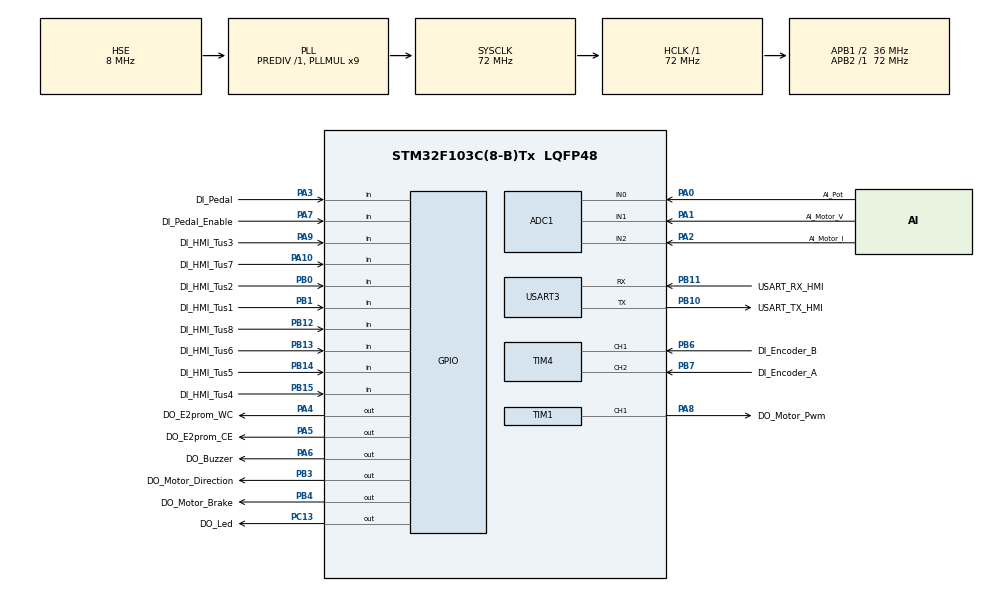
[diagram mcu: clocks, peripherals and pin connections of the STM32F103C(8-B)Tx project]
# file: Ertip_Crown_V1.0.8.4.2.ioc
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ADC1.Channel-6\#ChannelRegularConversion=ADC_CHANNEL_0
ADC1.Channel-7\#ChannelRegularConversion=ADC_CHANNEL_1
ADC1.Channel-8\#ChannelRegularConversion=ADC_CHANNEL_2
ADC1.ContinuousConvMode=ENABLE
ADC1.NbrOfConversion=3
ADC1.NbrOfConversionFlag=1
ADC1.Rank-6\#ChannelRegularConversion=1
ADC1.Rank-7\#ChannelRegularConversion=2
ADC1.Rank-8\#ChannelRegularConversion=3
ADC1.SamplingTime-6\#ChannelRegularConversion=ADC_SAMPLETIME_239CYCLES_5
ADC1.SamplingTime-7\#ChannelRegularConversion=ADC_SAMPLETIME_239CYCLES_5
ADC1.SamplingTime-8\#ChannelRegularConversion=ADC_SAMPLETIME_239CYCLES_5
ADC1.master=1
Dma.ADC1.0.Direction=DMA_PERIPH_TO_MEMORY
Dma.ADC1.0.Instance=DMA1_Channel1
Dma.ADC1.0.MemDataAlignment=DMA_MDATAALIGN_HALFWORD
Dma.ADC1.0.MemInc=DMA_MINC_ENABLE
Dma.ADC1.0.Mode=DMA_CIRCULAR
Dma.ADC1.0.PeriphDataAlignment=DMA_PDATAALIGN_HALFWORD
Dma.ADC1.0.PeriphInc=DMA_PINC_DISABLE
Dma.ADC1.0.Priority=DMA_PRIORITY_LOW
Dma.Request0=ADC1
Mcu.Family=STM32F1
Mcu.Name=STM32F103C(8-B)Tx
Mcu.Package=LQFP48
NVIC.DMA1_Channel1_IRQn=true\:10\:0\:true\:false\:true\:false\:true\:true
NVIC.PriorityGroup=NVIC_PRIORITYGROUP_4
NVIC.TIM2_IRQn=true\:0\:0\:false\:false\:true\:true\:true\:true
NVIC.USART3_IRQn=true\:0\:0\:false\:false\:true\:true\:true\:true
PA0-WKUP.GPIO_Label=AI_Pot
PA0-WKUP.Signal=ADCx_IN0
PA1.GPIO_Label=AI_Motor_V
PA1.Signal=ADCx_IN1
PA10.GPIO_Label=DI_HMI_Tus7
PA10.Signal=GPIO_Input
PA13.GPIO_Label=DIO_Debug_Serial_Wire
PA13.Mode=Serial_Wire
PA13.Signal=SYS_JTMS-SWDIO
PA14.GPIO_Label=CLK_Debug_Serial_Wire
PA14.Mode=Serial_Wire
PA14.Signal=SYS_JTCK-SWCLK
PA2.GPIO_Label=AI_Motor_I
PA2.Signal=ADCx_IN2
PA3.GPIO_Label=DI_Pedal
PA3.GPIO_PuPd=GPIO_PULLUP
PA3.Signal=GPIO_Input
PA4.GPIO_Label=DO_E2prom_WC
PA4.Signal=GPIO_Output
PA5.GPIO_Label=DO_E2prom_CE
PA5.Signal=GPIO_Output
PA6.GPIO_Label=DO_Buzzer
PA6.Signal=GPIO_Output
PA7.GPIO_Label=DI_Pedal_Enable
PA7.GPIO_PuPd=GPIO_PULLUP
PA7.Signal=GPIO_Input
PA8.GPIO_Label=DO_Motor_Pwm
PA8.Signal=S_TIM1_CH1
PA9.GPIO_Label=DI_HMI_Tus3
PA9.Signal=GPIO_Input
PB0.GPIO_Label=DI_HMI_Tus2
PB0.Signal=GPIO_Input
PB1.GPIO_Label=DI_HMI_Tus1
PB1.Signal=GPIO_Input
PB10.GPIO_Label=USART_TX_HMI
PB10.Mode=Asynchronous
PB10.Signal=USART3_TX
PB11.GPIO_Label=USART_RX_HMI
PB11.Mode=Asynchronous
PB11.Signal=USART3_RX
PB12.GPIO_Label=DI_HMI_Tus8
PB12.Signal=GPIO_Input
PB13.GPIO_Label=DI_HMI_Tus6
PB13.Signal=GPIO_Input
PB14.GPIO_Label=DI_HMI_Tus5
PB14.Signal=GPIO_Input
PB15.GPIO_Label=DI_HMI_Tus4
PB15.Signal=GPIO_Input
PB3.GPIO_Label=DO_Motor_Direction
PB3.Signal=GPIO_Output
PB4.GPIO_Label=DO_Motor_Brake
PB4.Signal=GPIO_Output
PB6.GPIO_Label=DI_Encoder_B
PB6.Signal=S_TIM4_CH1
PB7.GPIO_Label=DI_Encoder_A
PB7.Signal=S_TIM4_CH2
PB8.GPIO_Label=I2C_SCL_E2prom
PB8.Signal=I2C1_SCL
PB9.GPIO_Label=I2C_SDA_E2prom
PB9.Signal=I2C1_SDA
PC13-TAMPER-RTC.GPIO_Label=DO_Led
PC13-TAMPER-RTC.Signal=GPIO_Output
PD0-OSC_IN.Mode=HSE-External-Oscillator
PD0-OSC_IN.Signal=RCC_OSC_IN
PD1-OSC_OUT.Mode=HSE-External-Oscillator
PD1-OSC_OUT.Signal=RCC_OSC_OUT
ProjectManager.HeapSize=0x200
ProjectManager.StackSize=0x400
ProjectManager.TargetToolchain=STM32CubeIDE
RCC.ADCPresc=RCC_ADCPCLK2_DIV8
RCC.AHBFreq_Value=72000000
RCC.APB1CLKDivider=RCC_HCLK_DIV2
RCC.APB1Freq_Value=36000000
RCC.APB1TimFreq_Value=72000000
RCC.APB2Freq_Value=72000000
RCC.APB2TimFreq_Value=72000000
RCC.HCLKFreq_Value=72000000
RCC.PLLMUL=RCC_PLL_MUL9
RCC.PLLSourceVirtual=RCC_PLLSOURCE_HSE
RCC.SYSCLKFreq_VALUE=72000000
RCC.SYSCLKSource=RCC_SYSCLKSOURCE_PLLCLK
RCC.USBFreq_Value=72000000
SH.ADCx_IN0.0=ADC1_IN0,IN0
SH.ADCx_IN1.0=ADC1_IN1,IN1
SH.ADCx_IN2.0=ADC1_IN2,IN2
SH.S_TIM1_CH1.0=TIM1_CH1,PWM Generation1 CH1
SH.S_TIM4_CH1.0=TIM4_CH1,Encoder_Interface
SH.S_TIM4_CH2.0=TIM4_CH2,Encoder_Interface
TIM1.Channel-PWM\ Generation1\ CH1=TIM_CHANNEL_1
TIM1.OCPolarity_1=TIM_OCPOLARITY_LOW
TIM1.Period=2399
TIM2.AutoReloadPreload=TIM_AUTORELOAD_PRELOAD_ENABLE
TIM2.Period=4999
TIM2.Prescaler=71
TIM4.EncoderMode=TIM_ENCODERMODE_TI12
TIM4.IC1Polarity=TIM_ICPOLARITY_FALLING
USART3.VirtualMode=VM_ASYNC
VP_TIM2_VS_ClockSourceINT.Mode=Internal
board=custom

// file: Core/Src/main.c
/* USER CODE BEGIN Header */
/**
  ******************************************************************************
  * @file           : main.c
  * @brief          : Main program body
  ******************************************************************************
  * @attention
  *
  * Copyright (c) 2025 STMicroelectronics.
  * All rights reserved.
  *
  * This software is licensed under terms that can be found in the LICENSE file
  * in the root directory of this software component.
  * If no LICENSE file comes with this software, it is provided AS-IS.
  *
  ******************************************************************************
  */
/** 	BCD Teknik ARGE ve Robotik Otomasyon San. Tic. Ltd. Şti.
 	 	İstanbul, 2025

 	 	Bu kod ERTIP firmasının Crown V1.3 model kartı için üretilmiştir.
 	 	STM32F103C8T6 model MCU kullanılmıştır.

 	 	Tim4 Ch1 ve Ch2 combined modda enkoder okumak için kulanılmıştır.
 	 	Enkoder dönüş hızı (rpm), dönüş sayısı (distance_pulse) ve dönüş açısı (derece)
 	 	hesaplanmaktadır.

 	 	- Analog girişler DMA + SCAN MODE ile okunmuştur. Okunan değerlerin manipülasyonu (filtreleme vb.)
 	 	Callback dışında ayrı bir AdcUpdate() fonksiyonu içinde ve farklı interval de yapılmıştır.
 	 	- Callback çalışma frekansı yüksek olduğu için, data manipülasyonu Callback içinde yapıldığında,
 	 	işlemci tüm gücünü DMA Update e harcıyor ve uwTich dahil diğer fonksiyonlar çalışmıyor. Bu nedenle
 	 	hem ADC ranklarının Sampling Time değeri en büyük değer olan 239,5 cycle a çekildi, hem Clock Configuration
 	 	bölümünden ADC1 prescalar değeri en büyük değer olan /8 e ayarlandı (böylece DMA ölçüm frekansı düşürüldü),
 	 	hem de NVIC'ten DMA Interrupt priority si düşürüldü (değer olarak 10 a yükseltildi).
		- TIM1_CH1'den üretilen motor PWM değeri fonksiyonu ters çalışıyordu. Diğer bir ifadeyle __HAL_TIM_SET_COMPARE()
		fonksiyonuna girilen pwmValue değeri yükseldikçe motor devri düşüyordu. Bu sorunu pwmValue değerini max_pwm_periyot
		değerinden çıkararak çözülmüştü. Onun yerine CubeMX > Timers > TIM1 > Configuration > Channel1 içindeki CH polarity
		değerini low yaparak çözdük. Böylelikle her döngüde çıkarma işlemi yapmaktan kurtulduk.
		- main.c dosyası m_IO.c, m_MotorControl.c ve m_Filter.c olarak 3 modüle ayrıldı.
		-- m_IO.c de MCU giriş çıkışları ile ilgili temel fonksiyonlar yazıldı. Bunlar genel olarak DMA ile okunan ham ADC
		verilerinin (pot, motor voltage, motor current) işlenmesi, dijital girişlerin okunması, gijital çıkışların yazılması
		ve PWM üretilmesi olarak sınıflandırılabilir.
		-- m_MotorControl.c de genel olarak komum ve hız kontrol fonksiyonları yazıldı.
		-- m_Filter.c de okunan analog verilerin filtrelenmesi ve ölçeklendirilmesi ile ilgili fonksiyonlar yazıldı.
		- Hız referansı üreten PositionControl() fonksiyonu oluşturuldu. Konum kontrolünde standart Oransal (P) kontrol
		algoritması kullanıldı. Fonksiyon çıkışı hız doyum değerlerine göre (posSatLimitMax) sınırlandırıldı. Fonksiyona
		konum ileri besleme (ffPos) parametresi eklendi.
		- Motorun sürülmesi için gerekli PWM periyodu değerini üreten VelocityControl() fonksiyonu oluşturuldu. Hız kontrolünde
		standart Oransal-İntegral (PI) kontrol algoritması kullanıldı. İntegratör hesabına döngü peryotu (dTs) eklenerek
		Ki katsayısının döngü periyodu değişiminden etkilenmesi önlendi. Aynı zamanda integratöre geri-hesaplamalı antiwindup
		(Back Calculation AntiWindup - BCAW) algoritması eklenerek integral uçması sorunu önlendi. Fonksiyon çıkışı PWM duty cycle
		doyum değerlerine göre (velSatLimitMin, velSatLimitMax) sınırlandırıldı. Burada bahsedilen duty cycle limitleri fonksiyonun
		global olarak diğer uygulamalarla da uyumlu olabilmesi için 0.0f..1.0f aralığında olacak şekilde belirlendi.
		Böylelikle % duty cycle %0.0f..%100.0f aralığına ayarlanmış oldu. Bu düzenleme Kp ve Ki değerlerinin belirlenmesinde de etkili olacak.
		- BCAW interal uçması önleme algoritmasının etkiniğini düzenleyen kAntiWindup katsayısı döngü periyodu (dTs) ile ilişkilendirilerek
		katsayının döngü periyodu değişiminden etkilenmesi önlendi. kAntiWindup katsayısı belirlenirken genellikle ya Ki değerine ya da 1/dTs
		periyodu değerine eşitlenir.
		- Versiyon 1.0.5 ile birlikte değişken isimlendirmesi camel type'tan alt çizgili tipe dönüştürülmüştür.
		- VelocityControl() fonksiyonu içinde normalize edilmiş değerler kullanılmıştır. Böylelikle hız kontrolcü üniversal uyumlu hale getirilmiştir.
		- Versiyon 1.0.5.1 de kontrol döngüsü Timer 2 interrupt içinde yürütülmektedir. Bu yapıyı uygularken bazı sorunlar çıktı. En belirgin olanı referans
		potundan okunan değerlerde negatif anlamsız pikler oluşmaya başladı. Bunun interrupt çakışmasından kaynaklanabileceği belirtildi. Bu sorun ile uğraşmayı
		şimdilik bıraktım fakat ileride bakacağım.
		- Versiyon 1.0.6.1 de temel olarak seri haberleşmeyi de sisteme ekledim. VelocityControl() döngüsünü friction compansation ve deadband kontrolleri ile daha stabil
		hale getirdim. Belirli hız referansının altında motor hareket etmezken durduğu yerde ısınmasını önlemek için friction compansation etkisini koşulu hale getirdim.
		Böylece vel_ref belirli bir değerin altındaysa friction compansation kanıyor. PID ayarlarını düzelttim.PID kontrol kısmını normalize ettim. Önceleri Kp=15..20 civarı
		gezinirken şimdi Kp=1 civarı. Benzer şekilde Ki=20..30 civarı gezinirken şimdi Ki=0.1 civarında. TrajectoryGenerator() fonksiyonunu 2 farklı versiyon olarak
		yeniden düzenledim. Mutlak (absolute) hareket için TrajectoryGeneratorAbs() ve göreli (relative) hareket için TrajectoryGeneratorRel()oluşturdum.
		Versiyon 1.6.0 absolute olarak kaldı, artık relative'den devam ediyorum. Trajectory generator içerisine POS_DEADBAND ve VEL_DEADBAND parametreleri ekleyerek
		düşük hızlardki kararsız durumların önüne geçtim.
		- Versiyon 1.0.7'de temel olarak shared memory benzeri bir yapıya geçtim. Modüller arasında veri transferi için m_SharedMemory.c isminde yeni bir modül oluşturdum.
		Ayrıca Appconfig.h oluşturarak tüm #define ları içerisine attım. Böylelikl yazılımla ilgili tüm parametreler bir yerde toplanmış oldu. Fakat hız kontrol döngüsünde
		sorun yaşadım sorunun kaynağını bulamadım. Bu nedenle Velocitycontrol() fonksiyonunun stabil çalıştığı 1.5.1'e geri döndüm.
		- Versiyon 1.0.7.1'de 1.0.5.1'i temel aldım. Enkoder verisini doğru okuyabilen en güncel versiyonun bu olduğunu fark ettim.
		V1.0.7.1'i de yedek olarak tutarak V1.0.7.2'ye yükselttim. Bu versiyonda dikkatli olarak sırasıyla SharedMemory ve AppConfig
		yaklaşımlarını entegre edeceğim. Sonrasında hız ve konum kontrol döngülerindeki değişiklikleri aktaracağım. En son da seri haberleşme fonksiyonlarını ekleyeceğim.
		Sonrasında da VelTraGen ve PosTraGen fonksiyonlarının ayarlarını yapacağım.
		- Versiyon 1.0.8'e seri haberleşme eklendi. ERTIP_Crown_V1.3_Haberleşme_Protokolü_V1.1'e göre cevap mesajları gönderilir oldu. TrajectoryGeneratorVel() içindeki
		static float ramped_ref_rpm değişkeni globale taşınarak hız referansı değişimindeki sıfırlama hatası düzeltildi. Oscillation Mode da seri iletişimde donma oluyor.
		Ayrıca motor elle tutulduğunda aşırı salınıma giriyor.
		- Versiyon 1.0.8.1 e clamp fonksiyonu oluştur ve VelocityControl() içindeki antiwindup çıkışına da clamp ekle. Hız ve konum TraGen içindeki ivmelenme değerlerini
		seri haberleşme ile değiştirilebilir yap.

 	 	Dr. Barış DOĞAN
 */

/* USER CODE END Header */
#include "main.h"

/* USER CODE BEGIN Includes */
#include <stdio.h>
#include "m_SharedMemory.h"
#include "m_IO.h"
#include "m_MotorControl.h"
#include "m_Filter.h"
#include "m_SerialComm.h"
#include "AppConfig.h"

/* USER CODE END Includes */

/* USER CODE BEGIN PTD */

extern TIM_HandleTypeDef htim1;		// PWM timer (TIM1)
extern TIM_HandleTypeDef htim2;		// Control Loop timer (TIM2)
extern TIM_HandleTypeDef htim4;		// Encoder Handle timer (TIM4)

/* USER CODE END PTD */

ADC_HandleTypeDef hadc1;
DMA_HandleTypeDef hdma_adc1;

TIM_HandleTypeDef htim1;
TIM_HandleTypeDef htim2;
TIM_HandleTypeDef htim4;

UART_HandleTypeDef huart3;

void SystemClock_Config(void);
static void MX_GPIO_Init(void);
static void MX_DMA_Init(void);
static void MX_TIM1_Init(void);
static void MX_TIM4_Init(void);
static void MX_ADC1_Init(void);
static void MX_TIM2_Init(void);
static void MX_USART3_UART_Init(void);
/* USER CODE BEGIN PFP */

void SendSerialData(uint8_t *buffer);

uint8_t rx_byte = 0u;		// Seri haberleşmeden gelen byte
uint32_t rx_irq_count = 0u;
ProgramState_t operation_state;

/* USER CODE END PFP */

/* USER CODE BEGIN 0 */
void HAL_UART_RxCpltCallback(UART_HandleTypeDef *huart)			//  USART Callback
{
    if (huart->Instance == USART3)
    {
    	ReceiveSerialData_Task(rx_byte);
    	//HAL_UART_Transmit(&huart3, &rx_byte, 1, 100); 	// anında echo
    	HAL_UART_Receive_IT(&huart3, &rx_byte, 1u);		// 3. Kesmeyi yenile
    	rx_irq_count++;
    }
}

void HAL_TIM_PeriodElapsedCallback(TIM_HandleTypeDef *htim)		//  CONTROL LOOP Callback
{
    if (htim == &htim2)
    {
        // Kontrol döngüsü buraya gelecek
        // Encoder oku, Observer çalıştır, Main_Control_Loop çağır...

    	HAL_GPIO_WritePin(DO_Led_GPIO_Port, DO_Led_Pin, 1u);

    	//HAL_GPIO_TogglePin(DO_Led_GPIO_Port, DO_Led_Pin);
    	// 1) ADC değerlerini oku ve filtrele
    	UpdateADC_FromDMA_Task();

    	// 2) Enkoderden Konum ve Hız değerlerini oku
    	UpdateEncoder_Task();

    	// 3) Motor kontrolünü yap.
    	MotorControl_Task();

    	HAL_GPIO_WritePin(DO_Led_GPIO_Port, DO_Led_Pin, 0u);
    }
}

void SendSerialData(uint8_t *buffer)
{
	if (buffer == NULL) return;		// Buffer boşsa...

	uint16_t len = (uint16_t)snprintf((char*)tx_buffer, TX_BUFFER_SIZE, "%s\r\n", (char*)buffer);
	HAL_UART_Transmit(&huart3, tx_buffer, len, TX_TIMEOUT);
}

/* USER CODE END 0 */

int main(void)
{

  /* MCU Configuration--------------------------------------------------------*/

  /* Reset of all peripherals, Initializes the Flash interface and the Systick. */
  HAL_Init();

  /* Configure the system clock */
  SystemClock_Config();

  /* USER CODE BEGIN SysInit */

  // *** TEST: SysTick'i doğrudan configure et ***

  /* USER CODE END SysInit */

  /* Initialize all configured peripherals */
  MX_GPIO_Init();
  MX_DMA_Init();
  MX_TIM1_Init();
  MX_TIM4_Init();
  MX_ADC1_Init();
  MX_TIM2_Init();
  MX_USART3_UART_Init();
  /* USER CODE BEGIN 2 */

  // ADC ve DMA başlatma işlemleri
  Init_ADC();

  // TIM1: PWM CH1 başlat (PA8)
  Init_Tim1();

  // TIM2: Control Loop
  Init_Tim2();

  // TIM4: Enkoder sayacı timer'ını başlat
  Init_Tim4();

  HAL_UART_Receive_IT(&huart3, &rx_byte, 1);	// USART3'ün aktif olması için gerekli.

  SharedMemoryInit();

  InitControlVel();

  uint32_t serial_comm_loop_ms = HAL_GetTick();
  uint32_t state_loop_ms = HAL_GetTick();
  uint32_t io_loop_ms = HAL_GetTick();
  uint32_t led_loop_ms = HAL_GetTick();

  operation_state = OP_STATE_IDLE;
  uint32_t time_counter = 0u;

  /* USER CODE END 2 */

  /* Infinite loop */
  while (1)
  {

    /* USER CODE BEGIN 3 */

	  uint32_t now_ms = HAL_GetTick();

	  if ((now_ms - serial_comm_loop_ms) >= SERIAL_COMM_LOOP_PERIOD_MS)
	  {
		  serial_comm_loop_ms += SERIAL_COMM_LOOP_PERIOD_MS;

		  //HAL_GPIO_WritePin(DO_Led_GPIO_Port, DO_Led_Pin, 1);
		  if(rx_data_ready)
		  {
			  ParseSerialData(rx_buffer);
			  rx_data_ready = 0u;
		  }

		  UniCom_TimedTasks();

		  if(tx_data_ready)
		  {
			  SendSerialData(tx_buffer);
			  tx_data_ready = 0u;
		  }
		  //HAL_GPIO_WritePin(DO_Led_GPIO_Port, DO_Led_Pin, 0);
	  }

	  // *** BEGIN: State Loop
	  if ((now_ms - state_loop_ms) >= STATE_LOOP_PERIOD_MS)
	  {
		  state_loop_ms += STATE_LOOP_PERIOD_MS;

		  //HAL_GPIO_WritePin(DO_Led_GPIO_Port, DO_Led_Pin, 1);

		  switch(operation_state)
		  {
		  	  case OP_STATE_IDLE:	// idle
		  	  {
		  		if((sm.pedal_active && !sm.pedal_state) || sm.operation_start)
		  		{
		  			sm.operation_start = 0u;
		  			if(sm.control_mode == 0)
		  			{
		  				operation_state = OP_STATE_CONT_MODE_INIT;				// Trigger CONTINUOUS mode
		  			}
		  			else if(sm.control_mode == 1)
		  			{
		  				operation_state = OP_STATE_OSC_MODE_VEL_CONTROL_INIT;	// Trigger OSCILLATION mode
		  			}
		  			else
		  			{
		  				operation_state = OP_STATE_MAN_MODE;					// Trigger MANUAL mode
		  			}
		  		}
		  	  } break;

		  	  case OP_STATE_CONT_MODE_INIT:	// CONTINUOUS Mode 1) Trigger Velocity Control
		  	  {
		  		  sm.act_motor_state = MOT_STATE_VEL_CONTROL_INIT;
		  		  operation_state = OP_STATE_CONT_MODE;
		  	  } break;

		  	  case OP_STATE_CONT_MODE:	// CONTINUOUS Mode 2) Velocity Control
		  	  {
		  		  if(sm.act_motor_state == MOT_STATE_VEL_CONTROL)		// Hız kontrol döngüsü başlamışsa...
		  		  {
		  			  if((sm.pedal_active && sm.pedal_state) || sm.operation_stop)	// Pedal kullanımı aktifse ve pedal bırakılmışsa veya Durdur butonuna basılmışsa...
		  			  {
		  				  sm.operation_stop = 0u;	// Durdur işlemini resetle.
		  				  sm.act_motor_state = MOT_STATE_VEL_CONTROL_END;
		  				  operation_state = OP_STATE_CONT_MODE_END;		// Motor durdur.
		  			  }
		  		  }
		  	  } break;

		  	  case OP_STATE_CONT_MODE_END:	// CONTINUOUS Mode 3) End Velocity Control
		  	  {
  				  if(sm.act_motor_state == MOT_STATE_IDLE)
  				  {
  					  operation_state = OP_STATE_IDLE;
  				  }
		  	  } break;

		  	  case OP_STATE_OSC_MODE_VEL_CONTROL_INIT:	// OSCILLATION Mode 1) Trigger Velocity Control
		  	  {
		  		  time_counter = 0u;									// TIME gecikmesi için sayaç sıfırlanır.
		  		  sm.act_motor_state = MOT_STATE_VEL_CONTROL_INIT;		// Hız kontrol döngüsü başlatılır.
		  		  operation_state = OP_STATE_OSC_MODE_VEL_CONTROL;
		  	  } break;

		  	  case OP_STATE_OSC_MODE_VEL_CONTROL:	// OSCILLATION Mode 2) Velocity Control
		  	  {
		  		  if(sm.act_motor_state == MOT_STATE_VEL_CONTROL)		// Hız kontrol döngüsü başlamışsa...
		  		  {
		  			  time_counter += STATE_LOOP_PERIOD_MS;			// Oscillation Mode başında hız döngüsünü çalışma süresini belirleyen sayaç
		  			  if(time_counter >= sm.time_delay)				// Sayaç değeri arayüzden belirlenen TIME değerine ulaşmışsa...
		  			  {
		  				  time_counter = 0u;								// Sayaç sıfırlanır.
				  		  sm.act_motor_state = MOT_STATE_VEL_CONTROL_END;
		  				  operation_state = OP_STATE_OSC_MODE_VEL_CONTROL_END;
		  			  }
		  		  }
		  	  } break;

		  	  case OP_STATE_OSC_MODE_VEL_CONTROL_END:	// OSCILLATION Mode 3) End Velocity Control
		  	  {
  				  if(sm.act_motor_state == MOT_STATE_IDLE)
  				  {
  					  operation_state = OP_STATE_OSC_MODE_POS_CONTROL_INIT;
  				  }
		  	  } break;

		  	  case OP_STATE_OSC_MODE_POS_CONTROL_INIT:	// OSCILLATION Mode 4) Trigger Position Control
		  	  {
		  		  sm.act_motor_state = MOT_STATE_POS_CONTROL_INIT;		// Konum kontrol döngüsü başlatılır.
		  		  operation_state = OP_STATE_OSC_MODE_POS_CONTROL;
		  	  } break;

		  	  case OP_STATE_OSC_MODE_POS_CONTROL:	// OSCILLATION Mode 5) Position Control
		  	  {
		  		  if(sm.act_motor_state == MOT_STATE_POS_CONTROL)		// Konum kontrol döngüsü başlamış mı kontrol edilir.
		  		  {
		  			  if((sm.pedal_active && sm.pedal_state) || sm.operation_stop)	// Pedal kullanımı aktifse ve pedal bırakılmışsa veya Durdur butonuna basılmışsa...
		  			  {
		  				  sm.operation_stop = 0u;	// Durdur işlemini resetle.
				  		  sm.act_motor_state = MOT_STATE_POS_CONTROL_END;
		  				  operation_state = OP_STATE_OSC_MODE_POS_CONTROL_END;		// Motor durdur.
		  			  }
		  		  }
		  	  } break;

		  	  case OP_STATE_OSC_MODE_POS_CONTROL_END:	// OSCILLATION Mode 6) End Position Control
		  	  {
  				  if(sm.act_motor_state == MOT_STATE_IDLE)
  				  {
  					  operation_state = OP_STATE_IDLE;
  				  }
		  	  } break;

		  	  case OP_STATE_MAN_MODE:	// MANUAL Mode
		  	  {
		  		  sm.act_motor_state = MOT_STATE_MANUAL_CONTROL;
	  			  if(sm.operation_stop)			// Durdur butonuna basılmışsa...
	  			  {
	  				  sm.operation_stop = 0u;	// Durdur işlemini resetle.
	  				  sm.act_motor_state = MOT_STATE_IDLE;
	  				  operation_state = OP_STATE_IDLE;
	  			  }
		  	  } break;

		  }

		  //HAL_GPIO_WritePin(DO_Led_GPIO_Port, DO_Led_Pin, 0);

	  }
	  // *** END: State Loop

	  // *** BEGIN: Led Blink Loop
	  if ((now_ms - led_loop_ms) >= LED_LOOP_PERIOD_MS)
	  {
		  led_loop_ms += LED_LOOP_PERIOD_MS;
		  //HAL_GPIO_TogglePin(DO_Led_GPIO_Port, DO_Led_Pin);
	  }
	  // *** END: Led Blink Loop

	  // *** BEGIN: Scan IO Loop
	  if ((now_ms - io_loop_ms) >= IO_LOOP_PERIOD_MS)
	  {
		  io_loop_ms += IO_LOOP_PERIOD_MS;
		  //ScanIO_Task();
		  sm.pedal_state = HAL_GPIO_ReadPin(DI_Pedal_GPIO_Port, DI_Pedal_Pin);
		  //sm.pedal_active = HAL_GPIO_ReadPin(DI_Pedal_Enable_GPIO_Port, DI_Pedal_Enable_Pin);

	  }
	  // *** END: Scan IO Loop

  }
  /* USER CODE END 3 */
}

void SystemClock_Config(void)
{
  RCC_OscInitTypeDef RCC_OscInitStruct = {0};
  RCC_ClkInitTypeDef RCC_ClkInitStruct = {0};
  RCC_PeriphCLKInitTypeDef PeriphClkInit = {0};

  /** Initializes the RCC Oscillators according to the specified parameters
  * in the RCC_OscInitTypeDef structure.
  */
  RCC_OscInitStruct.OscillatorType = RCC_OSCILLATORTYPE_HSE;
  RCC_OscInitStruct.HSEState = RCC_HSE_ON;
  RCC_OscInitStruct.HSEPredivValue = RCC_HSE_PREDIV_DIV1;
  RCC_OscInitStruct.HSIState = RCC_HSI_ON;
  RCC_OscInitStruct.PLL.PLLState = RCC_PLL_ON;
  RCC_OscInitStruct.PLL.PLLSource = RCC_PLLSOURCE_HSE;
  RCC_OscInitStruct.PLL.PLLMUL = RCC_PLL_MUL9;
  if (HAL_RCC_OscConfig(&RCC_OscInitStruct) != HAL_OK)
  {
    Error_Handler();
  }

  /** Initializes the CPU, AHB and APB buses clocks
  */
  RCC_ClkInitStruct.ClockType = RCC_CLOCKTYPE_HCLK|RCC_CLOCKTYPE_SYSCLK
                              |RCC_CLOCKTYPE_PCLK1|RCC_CLOCKTYPE_PCLK2;
  RCC_ClkInitStruct.SYSCLKSource = RCC_SYSCLKSOURCE_PLLCLK;
  RCC_ClkInitStruct.AHBCLKDivider = RCC_SYSCLK_DIV1;
  RCC_ClkInitStruct.APB1CLKDivider = RCC_HCLK_DIV2;
  RCC_ClkInitStruct.APB2CLKDivider = RCC_HCLK_DIV1;

  if (HAL_RCC_ClockConfig(&RCC_ClkInitStruct, FLASH_LATENCY_2) != HAL_OK)
  {
    Error_Handler();
  }
  PeriphClkInit.PeriphClockSelection = RCC_PERIPHCLK_ADC;
  PeriphClkInit.AdcClockSelection = RCC_ADCPCLK2_DIV8;
  if (HAL_RCCEx_PeriphCLKConfig(&PeriphClkInit) != HAL_OK)
  {
    Error_Handler();
  }
}

static void MX_ADC1_Init(void)
{

  ADC_ChannelConfTypeDef sConfig = {0};

  /** Common config
  */
  hadc1.Instance = ADC1;
  hadc1.Init.ScanConvMode = ADC_SCAN_ENABLE;
  hadc1.Init.ContinuousConvMode = ENABLE;
  hadc1.Init.DiscontinuousConvMode = DISABLE;
  hadc1.Init.ExternalTrigConv = ADC_SOFTWARE_START;
  hadc1.Init.DataAlign = ADC_DATAALIGN_RIGHT;
  hadc1.Init.NbrOfConversion = 3;
  if (HAL_ADC_Init(&hadc1) != HAL_OK)
  {
    Error_Handler();
  }

  /** Configure Regular Channel
  */
  sConfig.Channel = ADC_CHANNEL_0;
  sConfig.Rank = ADC_REGULAR_RANK_1;
  sConfig.SamplingTime = ADC_SAMPLETIME_239CYCLES_5;
  if (HAL_ADC_ConfigChannel(&hadc1, &sConfig) != HAL_OK)
  {
    Error_Handler();
  }

  /** Configure Regular Channel
  */
  sConfig.Channel = ADC_CHANNEL_1;
  sConfig.Rank = ADC_REGULAR_RANK_2;
  if (HAL_ADC_ConfigChannel(&hadc1, &sConfig) != HAL_OK)
  {
    Error_Handler();
  }

  /** Configure Regular Channel
  */
  sConfig.Channel = ADC_CHANNEL_2;
  sConfig.Rank = ADC_REGULAR_RANK_3;
  if (HAL_ADC_ConfigChannel(&hadc1, &sConfig) != HAL_OK)
  {
    Error_Handler();
  }

}

static void MX_TIM1_Init(void)
{

  TIM_MasterConfigTypeDef sMasterConfig = {0};
  TIM_OC_InitTypeDef sConfigOC = {0};
  TIM_BreakDeadTimeConfigTypeDef sBreakDeadTimeConfig = {0};

  htim1.Instance = TIM1;
  htim1.Init.Prescaler = 0;
  htim1.Init.CounterMode = TIM_COUNTERMODE_UP;
  htim1.Init.Period = 2399;
  htim1.Init.ClockDivision = TIM_CLOCKDIVISION_DIV1;
  htim1.Init.RepetitionCounter = 0;
  htim1.Init.AutoReloadPreload = TIM_AUTORELOAD_PRELOAD_DISABLE;
  if (HAL_TIM_PWM_Init(&htim1) != HAL_OK)
  {
    Error_Handler();
  }
  sMasterConfig.MasterOutputTrigger = TIM_TRGO_RESET;
  sMasterConfig.MasterSlaveMode = TIM_MASTERSLAVEMODE_DISABLE;
  if (HAL_TIMEx_MasterConfigSynchronization(&htim1, &sMasterConfig) != HAL_OK)
  {
    Error_Handler();
  }
  sConfigOC.OCMode = TIM_OCMODE_PWM1;
  sConfigOC.Pulse = 0;
  sConfigOC.OCPolarity = TIM_OCPOLARITY_LOW;
  sConfigOC.OCNPolarity = TIM_OCNPOLARITY_HIGH;
  sConfigOC.OCFastMode = TIM_OCFAST_DISABLE;
  sConfigOC.OCIdleState = TIM_OCIDLESTATE_RESET;
  sConfigOC.OCNIdleState = TIM_OCNIDLESTATE_RESET;
  if (HAL_TIM_PWM_ConfigChannel(&htim1, &sConfigOC, TIM_CHANNEL_1) != HAL_OK)
  {
    Error_Handler();
  }
  sBreakDeadTimeConfig.OffStateRunMode = TIM_OSSR_DISABLE;
  sBreakDeadTimeConfig.OffStateIDLEMode = TIM_OSSI_DISABLE;
  sBreakDeadTimeConfig.LockLevel = TIM_LOCKLEVEL_OFF;
  sBreakDeadTimeConfig.DeadTime = 0;
  sBreakDeadTimeConfig.BreakState = TIM_BREAK_DISABLE;
  sBreakDeadTimeConfig.BreakPolarity = TIM_BREAKPOLARITY_HIGH;
  sBreakDeadTimeConfig.AutomaticOutput = TIM_AUTOMATICOUTPUT_DISABLE;
  if (HAL_TIMEx_ConfigBreakDeadTime(&htim1, &sBreakDeadTimeConfig) != HAL_OK)
  {
    Error_Handler();
  }
  HAL_TIM_MspPostInit(&htim1);

}

static void MX_TIM2_Init(void)
{

  TIM_ClockConfigTypeDef sClockSourceConfig = {0};
  TIM_MasterConfigTypeDef sMasterConfig = {0};

  htim2.Instance = TIM2;
  htim2.Init.Prescaler = 71;
  htim2.Init.CounterMode = TIM_COUNTERMODE_UP;
  htim2.Init.Period = 4999;
  htim2.Init.ClockDivision = TIM_CLOCKDIVISION_DIV1;
  htim2.Init.AutoReloadPreload = TIM_AUTORELOAD_PRELOAD_ENABLE;
  if (HAL_TIM_Base_Init(&htim2) != HAL_OK)
  {
    Error_Handler();
  }
  sClockSourceConfig.ClockSource = TIM_CLOCKSOURCE_INTERNAL;
  if (HAL_TIM_ConfigClockSource(&htim2, &sClockSourceConfig) != HAL_OK)
  {
    Error_Handler();
  }
  sMasterConfig.MasterOutputTrigger = TIM_TRGO_RESET;
  sMasterConfig.MasterSlaveMode = TIM_MASTERSLAVEMODE_DISABLE;
  if (HAL_TIMEx_MasterConfigSynchronization(&htim2, &sMasterConfig) != HAL_OK)
  {
    Error_Handler();
  }

}

static void MX_TIM4_Init(void)
{

  TIM_Encoder_InitTypeDef sConfig = {0};
  TIM_MasterConfigTypeDef sMasterConfig = {0};

  htim4.Instance = TIM4;
  htim4.Init.Prescaler = 0;
  htim4.Init.CounterMode = TIM_COUNTERMODE_UP;
  htim4.Init.Period = 65535;
  htim4.Init.ClockDivision = TIM_CLOCKDIVISION_DIV1;
  htim4.Init.AutoReloadPreload = TIM_AUTORELOAD_PRELOAD_DISABLE;
  sConfig.EncoderMode = TIM_ENCODERMODE_TI12;
  sConfig.IC1Polarity = TIM_ICPOLARITY_FALLING;
  sConfig.IC1Selection = TIM_ICSELECTION_DIRECTTI;
  sConfig.IC1Prescaler = TIM_ICPSC_DIV1;
  sConfig.IC1Filter = 0;
  sConfig.IC2Polarity = TIM_ICPOLARITY_RISING;
  sConfig.IC2Selection = TIM_ICSELECTION_DIRECTTI;
  sConfig.IC2Prescaler = TIM_ICPSC_DIV1;
  sConfig.IC2Filter = 0;
  if (HAL_TIM_Encoder_Init(&htim4, &sConfig) != HAL_OK)
  {
    Error_Handler();
  }
  sMasterConfig.MasterOutputTrigger = TIM_TRGO_RESET;
  sMasterConfig.MasterSlaveMode = TIM_MASTERSLAVEMODE_DISABLE;
  if (HAL_TIMEx_MasterConfigSynchronization(&htim4, &sMasterConfig) != HAL_OK)
  {
    Error_Handler();
  }

}

static void MX_USART3_UART_Init(void)
{

  huart3.Instance = USART3;
  huart3.Init.BaudRate = 115200;
  huart3.Init.WordLength = UART_WORDLENGTH_8B;
  huart3.Init.StopBits = UART_STOPBITS_1;
  huart3.Init.Parity = UART_PARITY_NONE;
  huart3.Init.Mode = UART_MODE_TX_RX;
  huart3.Init.HwFlowCtl = UART_HWCONTROL_NONE;
  huart3.Init.OverSampling = UART_OVERSAMPLING_16;
  if (HAL_UART_Init(&huart3) != HAL_OK)
  {
    Error_Handler();
  }

}

static void MX_DMA_Init(void)
{

  /* DMA controller clock enable */
  __HAL_RCC_DMA1_CLK_ENABLE();

  /* DMA interrupt init */
  /* DMA1_Channel1_IRQn interrupt configuration */
  HAL_NVIC_SetPriority(DMA1_Channel1_IRQn, 10, 0);
  HAL_NVIC_EnableIRQ(DMA1_Channel1_IRQn);

}

static void MX_GPIO_Init(void)
{
  GPIO_InitTypeDef GPIO_InitStruct = {0};

  /* GPIO Ports Clock Enable */
  __HAL_RCC_GPIOC_CLK_ENABLE();
  __HAL_RCC_GPIOD_CLK_ENABLE();
  __HAL_RCC_GPIOA_CLK_ENABLE();
  __HAL_RCC_GPIOB_CLK_ENABLE();

  /*Configure GPIO pin Output Level */
  HAL_GPIO_WritePin(DO_Led_GPIO_Port, DO_Led_Pin, GPIO_PIN_RESET);

  /*Configure GPIO pin Output Level */
  HAL_GPIO_WritePin(GPIOA, DO_E2prom_WC_Pin|DO_E2prom_CE_Pin|DO_Buzzer_Pin, GPIO_PIN_RESET);

  /*Configure GPIO pin Output Level */
  HAL_GPIO_WritePin(GPIOB, DO_Motor_Direction_Pin|DO_Motor_Brake_Pin, GPIO_PIN_RESET);

  /*Configure GPIO pin : DO_Led_Pin */
  GPIO_InitStruct.Pin = DO_Led_Pin;
  GPIO_InitStruct.Mode = GPIO_MODE_OUTPUT_PP;
  GPIO_InitStruct.Pull = GPIO_NOPULL;
  GPIO_InitStruct.Speed = GPIO_SPEED_FREQ_LOW;
  HAL_GPIO_Init(DO_Led_GPIO_Port, &GPIO_InitStruct);

  /*Configure GPIO pins : DI_Pedal_Pin DI_Pedal_Enable_Pin */
  GPIO_InitStruct.Pin = DI_Pedal_Pin|DI_Pedal_Enable_Pin;
  GPIO_InitStruct.Mode = GPIO_MODE_INPUT;
  GPIO_InitStruct.Pull = GPIO_PULLUP;
  HAL_GPIO_Init(GPIOA, &GPIO_InitStruct);

  /*Configure GPIO pins : DO_E2prom_WC_Pin DO_E2prom_CE_Pin DO_Buzzer_Pin */
  GPIO_InitStruct.Pin = DO_E2prom_WC_Pin|DO_E2prom_CE_Pin|DO_Buzzer_Pin;
  GPIO_InitStruct.Mode = GPIO_MODE_OUTPUT_PP;
  GPIO_InitStruct.Pull = GPIO_NOPULL;
  GPIO_InitStruct.Speed = GPIO_SPEED_FREQ_LOW;
  HAL_GPIO_Init(GPIOA, &GPIO_InitStruct);

  /*Configure GPIO pins : DI_HMI_Tus2_Pin DI_HMI_Tus1_Pin DI_HMI_Tus8_Pin DI_HMI_Tus6_Pin
                           DI_HMI_Tus5_Pin DI_HMI_Tus4_Pin */
  GPIO_InitStruct.Pin = DI_HMI_Tus2_Pin|DI_HMI_Tus1_Pin|DI_HMI_Tus8_Pin|DI_HMI_Tus6_Pin
                          |DI_HMI_Tus5_Pin|DI_HMI_Tus4_Pin;
  GPIO_InitStruct.Mode = GPIO_MODE_INPUT;
  GPIO_InitStruct.Pull = GPIO_NOPULL;
  HAL_GPIO_Init(GPIOB, &GPIO_InitStruct);

  /*Configure GPIO pins : DI_HMI_Tus3_Pin DI_HMI_Tus7_Pin */
  GPIO_InitStruct.Pin = DI_HMI_Tus3_Pin|DI_HMI_Tus7_Pin;
  GPIO_InitStruct.Mode = GPIO_MODE_INPUT;
  GPIO_InitStruct.Pull = GPIO_NOPULL;
  HAL_GPIO_Init(GPIOA, &GPIO_InitStruct);

  /*Configure GPIO pins : DO_Motor_Direction_Pin DO_Motor_Brake_Pin */
  GPIO_InitStruct.Pin = DO_Motor_Direction_Pin|DO_Motor_Brake_Pin;
  GPIO_InitStruct.Mode = GPIO_MODE_OUTPUT_PP;
  GPIO_InitStruct.Pull = GPIO_NOPULL;
  GPIO_InitStruct.Speed = GPIO_SPEED_FREQ_LOW;
  HAL_GPIO_Init(GPIOB, &GPIO_InitStruct);

  /*Configure GPIO pins : I2C_SCL_E2prom_Pin I2C_SDA_E2prom_Pin */
  GPIO_InitStruct.Pin = I2C_SCL_E2prom_Pin|I2C_SDA_E2prom_Pin;
  GPIO_InitStruct.Mode = GPIO_MODE_AF_OD;
  GPIO_InitStruct.Speed = GPIO_SPEED_FREQ_HIGH;
  HAL_GPIO_Init(GPIOB, &GPIO_InitStruct);

  /*Configure peripheral I/O remapping */
  __HAL_AFIO_REMAP_I2C1_ENABLE();

  /* USER CODE BEGIN MX_GPIO_Init_2 */

  // PA0, PA1, PA2 -> ADC1_IN0, IN1, IN2
  GPIO_InitStruct.Pin  = GPIO_PIN_0 | GPIO_PIN_1 | GPIO_PIN_2;
  GPIO_InitStruct.Mode = GPIO_MODE_ANALOG;
  GPIO_InitStruct.Pull = GPIO_NOPULL;
  HAL_GPIO_Init(GPIOA, &GPIO_InitStruct);

  /* USER CODE END MX_GPIO_Init_2 */
}

void Error_Handler(void)
{
  __disable_irq();
  while (1)
  {
  }
}
